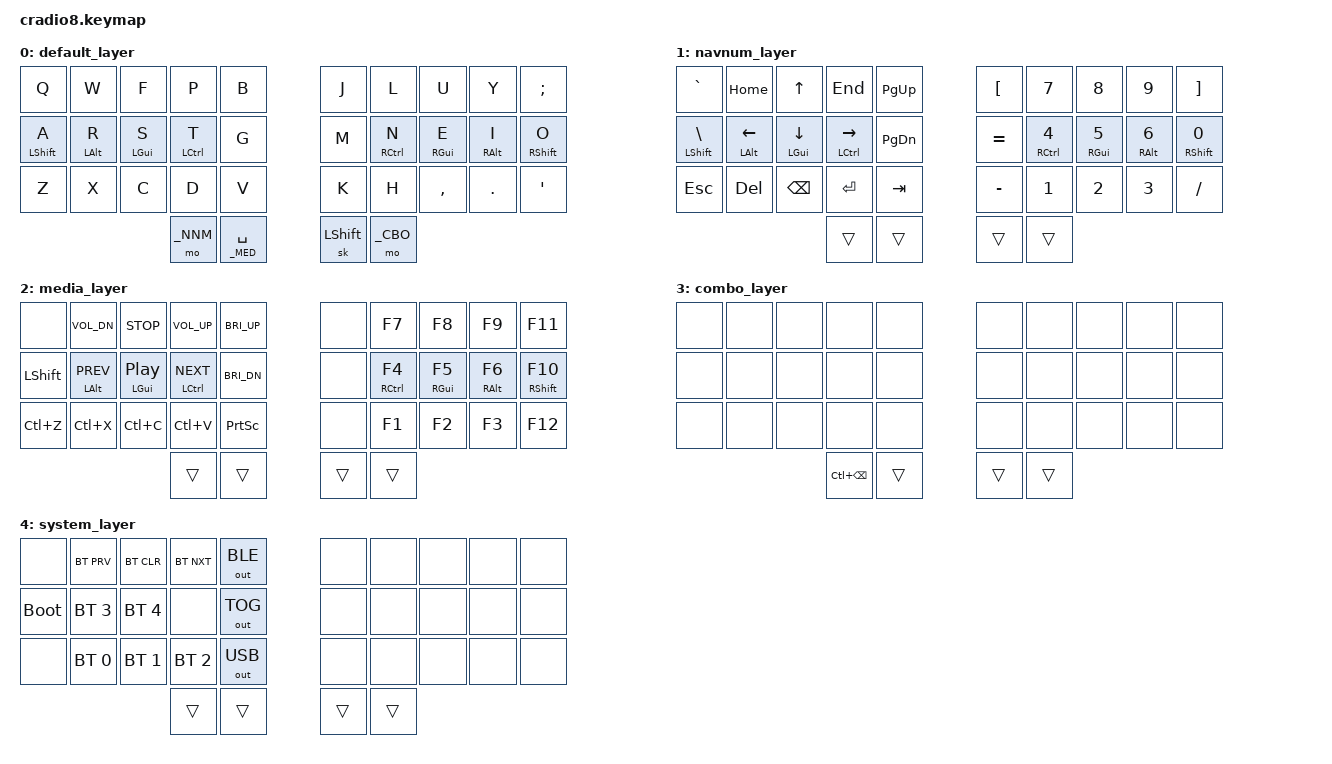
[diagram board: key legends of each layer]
/*
 * Copyright (c) 2020 The ZMK Contributors
 *
 * SPDX-License-Identifier: MIT
 */

#include <behaviors.dtsi>
#include <dt-bindings/zmk/bt.h>
#include <dt-bindings/zmk/keys.h>
#include <dt-bindings/zmk/outputs.h>

// LAYERS
#define _NNM 1 
#define _MED 2 
#define _CBO 3 
#define _SYS 4 

&mt {
  flavor = "tap-preferred";
  tapping_term_ms = <200>;
};

&lt {
  flavor = "tap-preferred";
  tapping_term_ms = <200>;
};

&sl {
    release-after-ms = <1000>;
};

&sk {
    release-after-ms = <2000>;
    quick-release;
};

/ {
  macros {
    #include "macros.dtsi"
  };
  combos {
    compatible = "zmk,combos";
    combo_system {
      timeout-ms = <100>;
      key-positions = <0 20>;
      bindings = <&tog _SYS>;
      layers = <0>;
    };
    combo_boot {
      timeout-ms = <100>;
      key-positions = <0 4>;
      bindings = <&bootloader>;
      layers = <0>;
    };
    combo_system {
      timeout-ms = <100>;
      key-positions = <0 20>;
      bindings = <&tog _SYS>;
    };
    #include "combos.dtsi"
  };

  keymap {
    compatible = "zmk,keymap";

    default_layer {
      bindings = <
        &kp Q            &kp W            &kp F            &kp P            &kp B                 &kp J            &kp L            &kp U            &kp Y            &kp SEMI
        &mt LSHIFT A     &mt LALT R       &mt LGUI S       &mt LCTRL T      &kp G                 &kp M            &mt RCTRL N      &mt RGUI E       &mt RALT I       &mt RSHIFT O
        &kp Z            &kp X            &kp C            &kp D            &kp V                 &kp K            &kp H            &kp COMMA        &kp DOT          &kp SQT
                                                           &mo _NNM         &lt _MED SPC          &sk LSHIFT       &mo _CBO      
      >;
    };

    navnum_layer {
      bindings = <
        &kp GRAVE        &kp HOME         &kp UP           &kp END          &kp PG_UP             &kp LBKT         &kp N7           &kp N8           &kp N9           &kp RBKT 
        &mt LSHIFT BSLH  &mt LALT LEFT    &mt LGUI DOWN    &mt LCTRL RIGHT  &kp PG_DN             &kp EQUAL        &mt RCTRL N4     &mt RGUI N5      &mt RALT N6      &mt RSHIFT N0
        &kp ESC          &kp DEL          &kp BSPC         &kp RET          &kp TAB               &kp MINUS        &kp N1           &kp N2           &kp N3           &kp FSLH 
                                                           &trans           &trans                &trans           &trans
      >;
    };

    media_layer {
      bindings = <
        &none            &kp C_VOL_DN     &kp C_STOP       &kp C_VOL_UP     &kp C_BRI_UP          &none            &kp F7           &kp F8           &kp F9           &kp F11
        &kp LSHIFT       &mt LALT C_PREV  &mt LGUI C_PP    &mt LCTRL C_NEXT &kp C_BRI_DN          &none            &mt RCTRL F4     &mt RGUI F5      &mt RALT F6      &mt RSHIFT F10
        &kp LC(Z)        &kp LC(X)        &kp LC(C)        &kp LC(V)        &kp PSCRN             &none            &kp F1           &kp F2           &kp F3           &kp F12
                                                           &trans           &trans                &trans           &trans
      >;
    };

    combo_layer {
      bindings = <
        &none            &none            &none            &none            &none                 &none            &none            &none            &none            &none
        &none            &none            &none            &none            &none                 &none            &none            &none            &none            &none
        &none            &none            &none            &none            &none                 &none            &none            &none            &none            &none
                                                           &kp LC(BSPC)     &trans                &trans           &trans
      >;
    };
    system_layer {
      bindings = <
        &none            &bt BT_PRV       &bt BT_CLR       &bt BT_NXT       &out OUT_BLE          &none            &none            &none            &none            &none
        &bootloader      &bt BT_SEL 3     &bt BT_SEL 4     &none            &out OUT_TOG          &none            &none            &none            &none            &none
        &none            &bt BT_SEL 0     &bt BT_SEL 1     &bt BT_SEL 2     &out OUT_USB          &none            &none            &none            &none            &none
                                                           &trans           &trans                &trans           &trans
      >;
    };
  };
};
